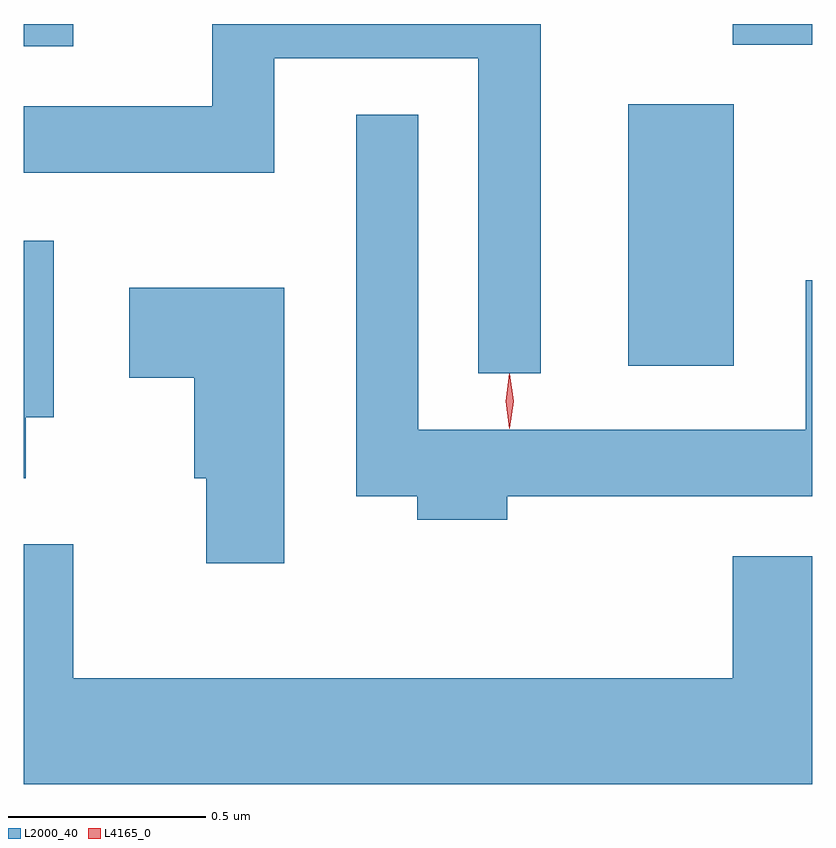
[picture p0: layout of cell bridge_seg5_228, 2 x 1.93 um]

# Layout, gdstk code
import gdstk
lib = gdstk.Library(unit=1e-6, precision=1e-09)
def R(c, l, rs):  # rectangles x0, y0, x1, y1
    for r in rs: c.add(gdstk.rectangle(r[:2], r[2:], *l))
def P(c, l, *ps):  # polygons
    for p in ps: c.add(gdstk.Polygon(p, *l))
L2000_40 = (2000, 40)
L4165_0 = (4165, 0)

bridge_seg5_228 = lib.new_cell('bridge_seg5_228')
R(bridge_seg5_228, L2000_40, [(1290.476,1428.996,1290.744,1429.659), (1288.943,1429.806,1289.069,1429.863), (1290.741,1429.811,1290.943,1429.863)])
P(bridge_seg5_228, L2000_40, [(1290.254,1429.863),(1289.421,1429.863),(1289.421,1429.654),(1288.943,1429.654),(1288.943,1429.486),(1289.579,1429.486),(1289.579,1429.776),(1290.096,1429.776),(1290.096,1428.978),(1290.254,1428.978)],
  [(1290.169,1428.666),(1290.943,1428.666),(1290.943,1429.213),(1290.926,1429.213),(1290.926,1428.834),(1289.944,1428.834),(1289.944,1429.633),(1289.786,1429.633),(1289.786,1428.666),(1289.941,1428.666),(1289.941,1428.606),(1290.169,1428.606)],
  [(1288.949,1428.866),(1289.019,1428.866),(1289.019,1429.314),(1288.943,1429.314),(1288.943,1428.711),(1288.949,1428.711)],
  [(1289.604,1429.194),(1289.211,1429.194),(1289.211,1428.966),(1289.376,1428.966),(1289.376,1428.711),(1289.406,1428.711),(1289.406,1428.496),(1289.604,1428.496)],
  [(1290.943,1428.514),(1290.741,1428.514),(1290.741,1428.204),(1289.069,1428.204),(1289.069,1428.544),(1288.943,1428.544),(1288.943,1427.936),(1290.943,1427.936)])
P(bridge_seg5_228, L4165_0, [(1290.176,1428.837),(1290.175,1428.838),(1290.166,1428.907),(1290.175,1428.976),(1290.176,1428.976),(1290.176,1428.976),(1290.186,1428.907),(1290.176,1428.838)],
  [(1290.176,1428.839),(1290.175,1428.84),(1290.166,1428.906),(1290.175,1428.972),(1290.176,1428.973),(1290.176,1428.972),(1290.186,1428.906),(1290.176,1428.84)])

lib.write_gds('bridge_seg5_228.gds')
